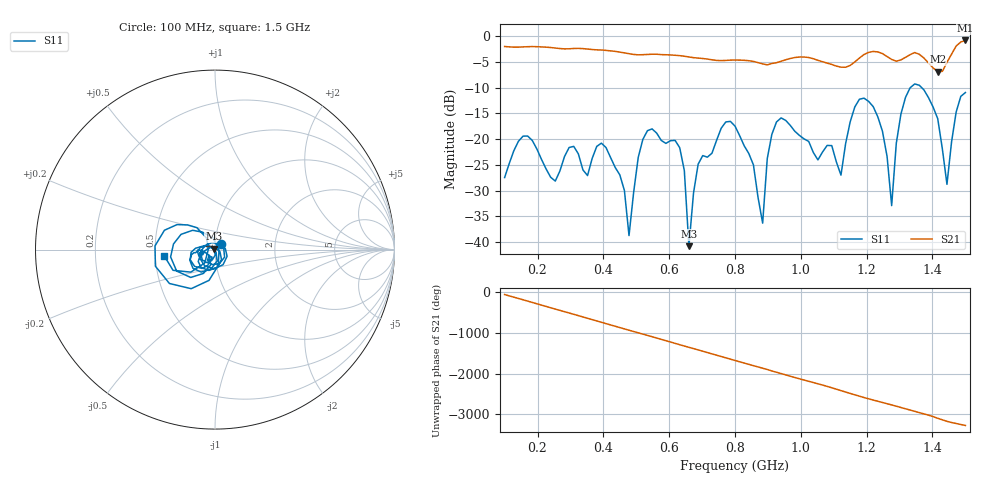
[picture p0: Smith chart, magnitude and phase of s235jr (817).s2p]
! NanoVNA-App
! Date: 2025-09-25 15:10:32
! Start: 100MHz Stop: 1,5GHz Points: 101
! S-Parameter data: F S11 S21 S12 S22
# Hz S RI R 50
!  Frequency  S11_Real  S11_Imag  S21_Real  S21_Imag  S12_Real  S12_Imag  S22_Real  S22_Imag
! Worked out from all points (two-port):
!   101 points, 100 MHz to 1.5 GHz, reference 50 ohm
!   highest |S21| = -0.79 dB at 1.5 GHz (marker M1); lowest = -6.8 dB at 1.416 GHz (marker M2)
!   |S21| within 3 dB of the highest: start of sweep to 637.5 MHz; 1.187 GHz to 1.259 GHz (72.22 MHz wide, 5.91 % of centre) (the widest 2 of 4)
!   lowest |S11| = -40.8 dB at 660 MHz (marker M3), VSWR 1.02, Z = 49.3 + j0.557 ohm
!   |S11| at or under -10 dB: start of sweep to 1.332 GHz; 1.368 GHz to end of sweep
!   S12 and S22 are empty: the file has one direction only
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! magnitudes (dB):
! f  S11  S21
! 100 MHz  -27.5  -2.0
! 156 MHz  -19.4  -2.0
! 338 MHz  -26.0  -2.4
! 408 MHz  -21.6  -2.7
! 478 MHz  -38.8  -3.4
! 520 MHz  -20.0  -3.6
! 576 MHz  -20.2  -3.5
! 632 MHz  -21.7  -3.7
! 660 MHz  -40.8  -4.0
! 688 MHz  -24.9  -4.2
! 800 MHz  -17.5  -4.6
! 884 MHz  -36.3  -5.3
! 926 MHz  -16.7  -5.1
! 1.038 GHz  -22.6  -4.3
! 1.122 GHz  -27.0  -6.0
! 1.192 GHz  -12.0  -3.5
! 1.248 GHz  -18.4  -3.3
! 1.276 GHz  -32.9  -4.5
! 1.332 GHz  -10.0  -3.6
! 1.416 GHz  -16.0  -6.8
! 1.444 GHz  -28.8  -5.0
! 1.5 GHz  -10.9  -0.8
